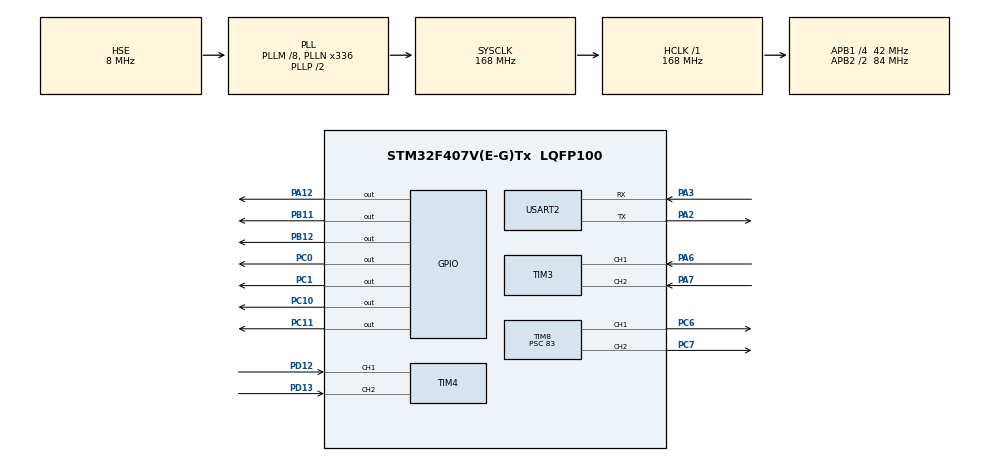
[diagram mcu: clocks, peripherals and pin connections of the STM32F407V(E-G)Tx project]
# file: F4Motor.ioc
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Dma.Request0=USART2_RX
Dma.Request1=USART2_TX
Dma.USART2_RX.0.Direction=DMA_PERIPH_TO_MEMORY
Dma.USART2_RX.0.FIFOMode=DMA_FIFOMODE_DISABLE
Dma.USART2_RX.0.Instance=DMA1_Stream5
Dma.USART2_RX.0.MemDataAlignment=DMA_MDATAALIGN_BYTE
Dma.USART2_RX.0.MemInc=DMA_MINC_ENABLE
Dma.USART2_RX.0.Mode=DMA_CIRCULAR
Dma.USART2_RX.0.PeriphDataAlignment=DMA_PDATAALIGN_BYTE
Dma.USART2_RX.0.PeriphInc=DMA_PINC_DISABLE
Dma.USART2_RX.0.Priority=DMA_PRIORITY_LOW
Dma.USART2_TX.1.Direction=DMA_MEMORY_TO_PERIPH
Dma.USART2_TX.1.FIFOMode=DMA_FIFOMODE_DISABLE
Dma.USART2_TX.1.Instance=DMA1_Stream6
Dma.USART2_TX.1.MemDataAlignment=DMA_MDATAALIGN_BYTE
Dma.USART2_TX.1.MemInc=DMA_MINC_ENABLE
Dma.USART2_TX.1.Mode=DMA_CIRCULAR
Dma.USART2_TX.1.PeriphDataAlignment=DMA_PDATAALIGN_BYTE
Dma.USART2_TX.1.PeriphInc=DMA_PINC_DISABLE
Dma.USART2_TX.1.Priority=DMA_PRIORITY_LOW
Mcu.Family=STM32F4
Mcu.Name=STM32F407V(E-G)Tx
Mcu.Package=LQFP100
NVIC.DMA1_Stream5_IRQn=true\:0\:0\:false\:false\:true\:false\:true\:true
NVIC.DMA1_Stream6_IRQn=true\:0\:0\:false\:false\:true\:false\:true\:true
NVIC.PriorityGroup=NVIC_PRIORITYGROUP_4
NVIC.TIM6_DAC_IRQn=true\:1\:0\:true\:false\:true\:true\:true\:true
NVIC.TIM7_IRQn=true\:2\:0\:true\:false\:true\:true\:true\:true
NVIC.USART2_IRQn=true\:1\:0\:true\:false\:true\:true\:true\:true
PA12.Signal=GPIO_Output
PA13.Mode=Serial_Wire
PA13.Signal=SYS_JTMS-SWDIO
PA14.Mode=Serial_Wire
PA14.Signal=SYS_JTCK-SWCLK
PA2.Mode=Asynchronous
PA2.Signal=USART2_TX
PA3.Mode=Asynchronous
PA3.Signal=USART2_RX
PA6.Signal=S_TIM3_CH1
PA7.Signal=S_TIM3_CH2
PB11.Signal=GPIO_Output
PB12.Signal=GPIO_Output
PC0.Signal=GPIO_Output
PC1.Signal=GPIO_Output
PC10.Signal=GPIO_Output
PC11.Signal=GPIO_Output
PC6.Signal=S_TIM8_CH1
PC7.Signal=S_TIM8_CH2
PD12.Signal=S_TIM4_CH1
PD13.Signal=S_TIM4_CH2
PH0-OSC_IN.Mode=HSE-External-Oscillator
PH0-OSC_IN.Signal=RCC_OSC_IN
PH1-OSC_OUT.Mode=HSE-External-Oscillator
PH1-OSC_OUT.Signal=RCC_OSC_OUT
ProjectManager.HeapSize=0x200
ProjectManager.StackSize=0x400
ProjectManager.TargetToolchain=STM32CubeIDE
RCC.48MHZClocksFreq_Value=84000000
RCC.AHBFreq_Value=168000000
RCC.APB1CLKDivider=RCC_HCLK_DIV4
RCC.APB1Freq_Value=42000000
RCC.APB1TimFreq_Value=84000000
RCC.APB2CLKDivider=RCC_HCLK_DIV2
RCC.APB2Freq_Value=84000000
RCC.APB2TimFreq_Value=168000000
RCC.CortexFreq_Value=168000000
RCC.HCLKFreq_Value=168000000
RCC.HSE_VALUE=8000000
RCC.HSI_VALUE=16000000
RCC.LSE_VALUE=32768
RCC.PLLM=8
RCC.PLLN=336
RCC.PLLSourceVirtual=RCC_PLLSOURCE_HSE
RCC.SYSCLKFreq_VALUE=168000000
RCC.SYSCLKSource=RCC_SYSCLKSOURCE_PLLCLK
RCC.VCOOutputFreq_Value=336000000
SH.S_TIM3_CH1.0=TIM3_CH1,Encoder_Interface
SH.S_TIM3_CH2.0=TIM3_CH2,Encoder_Interface
SH.S_TIM4_CH1.0=TIM4_CH1,Encoder_Interface
SH.S_TIM4_CH2.0=TIM4_CH2,Encoder_Interface
SH.S_TIM8_CH1.0=TIM8_CH1,PWM Generation1 CH1
SH.S_TIM8_CH2.0=TIM8_CH2,PWM Generation2 CH2
TIM3.EncoderMode=TIM_ENCODERMODE_TI12
TIM4.EncoderMode=TIM_ENCODERMODE_TI12
TIM6.Period=99
TIM6.Prescaler=8399
TIM7.Period=199
TIM7.Prescaler=8399
TIM8.Channel-PWM\ Generation1\ CH1=TIM_CHANNEL_1
TIM8.Channel-PWM\ Generation2\ CH2=TIM_CHANNEL_2
TIM8.Period=99
TIM8.Prescaler=83
USART2.VirtualMode=VM_ASYNC
VP_TIM6_VS_ClockSourceINT.Mode=Enable_Timer
VP_TIM7_VS_ClockSourceINT.Mode=Enable_Timer
board=custom

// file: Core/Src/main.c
/* USER CODE BEGIN Header */
/**
  ******************************************************************************
  * @file           : main.c
  * @brief          : Main program body
  ******************************************************************************
  * @attention
  *
  * Copyright (c) 2023 STMicroelectronics.
  * All rights reserved.
  *
  * This software is licensed under terms that can be found in the LICENSE file
  * in the root directory of this software component.
  * If no LICENSE file comes with this software, it is provided AS-IS.
  * Author: Le Dinh Hoang
  ******************************************************************************
  */
/* USER CODE END Header */
#include "main.h"

/* USER CODE BEGIN Includes */
#include "stdio.h"
#include "string.h"
#include "math.h"
#include "stdlib.h"
/* USER CODE END Includes */

TIM_HandleTypeDef htim3;
TIM_HandleTypeDef htim4;
TIM_HandleTypeDef htim6;
TIM_HandleTypeDef htim7;
TIM_HandleTypeDef htim8;

UART_HandleTypeDef huart2;
DMA_HandleTypeDef hdma_usart2_rx;
DMA_HandleTypeDef hdma_usart2_tx;

void SystemClock_Config(void);
static void MX_GPIO_Init(void);
static void MX_DMA_Init(void);
static void MX_TIM3_Init(void);
static void MX_TIM4_Init(void);
static void MX_TIM6_Init(void);
static void MX_USART2_UART_Init(void);
static void MX_TIM8_Init(void);
static void MX_TIM7_Init(void);

/* USER CODE BEGIN 0 */
float f1 = 0,f2 = 0;
uint32_t a,b,c,d,e,f,g,h,t =0;
uint8_t txbuffer[16];//Buffer truyen du lieu tu STM32 toi RaspberryPi. Bao gom 2 toc do cua dong co +000.00/+000.00/n
uint8_t temp_rxbuffer[17];
uint8_t y[24];
uint8_t tx[8];
uint8_t f12bytes[sizeof(float)+1];
uint8_t f22bytes[sizeof(float)];
float bytes2f=0;
double time_sample = 0.005; //Thoi gian lay mau roi rac 5ms
char motorState1 = 0, motorState2 = 0;
uint8_t rxbuffer[17]; //Buffer nhan du lieu tu RaspberryPi thong qua USART2 dung DMA.... +00.00/+00.00/y/n
/*--------Thong so ve dong co trai */ //Motor1 = dong co trai
double set1 = 0,set1_1 = 0;
int32_t setpoint1 = -50, setpoint1_1 = 0,setpoint1_2 =0; //Toc do dat cua dong co trai,setpoint = uc(k), setpoint1_1 = uc(k-1), setpoint1_2 = uc(k-2);
double cnt_encoder1, pre_cnt_encoder1,cnt; //Gia tri doc encoder va gia tri trong qua khu
double motor1Velocity,motor1Velocity1,motor1Velocity2,motor1Velocity3;//Toc do thuc te ngo ra y voi motor1Velocity = y1(k), motor1Velocity1 = y1(k-1), motor1Velocity2 = y1(k-2)...
double motor1Velocity_m,motor1Velocity1_m,motor1Velocity2_m; //Toc do ngo ra ym mo hinh chuan motor1Velocity_m = ym(k), motor1Velocity1_m = ym(k-1);
double e1_c, e1_c1, e1_c2; //Sai so giua setpoint va toc do thuc te e1_c = e1(k), e1_c1 = e1(k-1), e1 = setpoint1 - motor1Velocity;
double e1_m, e1_m1, e1_m2; //Sai so giua ngo ra thuc te va ngo ra mo hinh  chuan e1_m = e1(k), e1_m1 = e1(k-1), motor1Velocity - motor1Velocity_m
double delta1_Kp,delta1_Ki;//Bien gán da thuc trong lut MIT de roi rac
double delta1_Kp_k1, delta1_Kp_k2;
double delta1_Ki_k1,delta1_Ki_k2;
double alpha1,beta1;
double Kp1 = 0 ,Ki1 = 0;
//double Kp1_k1,Ki1_k1,Kd1_k1;
double u1_k,u1_k1,u1_k2;
double gamma1=0.00001; //He so thich nghi
double biendem = 0;
//Luat dieu khien u1_k = u(k), u1_k1 = u(k-1)

/* Thong so ve dong co phai */ //Motor2 = dong co phai
double set2 = 0,set2_1 = 0;
int32_t setpoint2 = 50 ,setpoint2_1,setpoint2_2;; //Toc do dat cua dong co phai
double cnt_encoder2, pre_cnt_encoder2; //Gia tri doc encoder va gia tri trong qua khu
double motor2Velocity,motor2Velocity1 = 0,motor2Velocity2,motor2Velocity3;//Toc do thuc te ngo ra y voi motor2Velocity = y2(k), motor2Velocity1 = y2(k-1), motor2Velocity2 = y2(k-2)...
double motor2Velocity_m,motor2Velocity1_m,motor2Velocity2_m; //Toc do ngo ra ym mo hinh chuan motor2Velocity_m = y2m(k), motor2Velocity1_m = y2m(k-1);
double e2_c, e2_c1, e2_c2; //Sai so giua setpoint va toc do thuc te e2_c = e2(k), e2_c1 = e2(k-1), e2 = setpoint2 - motor2Velocity;
double e2_m, e2_m1, e2_m2; //Sai so giua ngo ra thuc te va ngo ra mo hinh  chuan e2_m = e2(k), e2_m1 = e2(k-1), motor2Velocity - motor2Velocity_m
double delta2_Kp,delta2_Ki;//Bien gán da thuc trong lut MIT de roi rac
double delta2_Kp_k1, delta2_Kp_k2;
double delta2_Ki_k1,delta2_Ki_k2;
double alpha2,beta2;
double Kp2,Ki2;
double Kp2_k1,Ki2_k1;
double u2_k,u2_k1,u2_k2;
double gamma2 = 0.00001; //He so thich nghi

int time_parameter = 0;
double pitch = 0, roll = 0, yaw = 0, yad_radian = 0;
/* USER CODE END 0 */

int main(void)
{

  /* MCU Configuration--------------------------------------------------------*/

  /* Reset of all peripherals, Initializes the Flash interface and the Systick. */
  HAL_Init();

  /* Configure the system clock */
  SystemClock_Config();

  /* Initialize all configured peripherals */
  MX_GPIO_Init();
  MX_DMA_Init();
  MX_TIM3_Init();
  MX_TIM4_Init();
  MX_TIM6_Init();
  MX_USART2_UART_Init();
  MX_TIM8_Init();
  MX_TIM7_Init();
  /* USER CODE BEGIN 2 */
  HAL_TIM_PWM_Start(&htim8,TIM_CHANNEL_1);
  HAL_TIM_PWM_Start(&htim8,TIM_CHANNEL_2);
  HAL_TIM_Encoder_Start(&htim3, TIM_CHANNEL_1 | TIM_CHANNEL_2);
  HAL_TIM_Encoder_Start(&htim4, TIM_CHANNEL_1 | TIM_CHANNEL_2);
  HAL_TIM_Base_Start_IT(&htim6);
  HAL_TIM_Base_Start_IT(&htim7);
  HAL_UART_Receive_DMA(&huart2, rxbuffer, sizeof(rxbuffer));
// HAL_UART_Transmit_DMA(&huart2, y, sizeof(y));
  /* USER CODE END 2 */

  /* Infinite loop */
  while (1)
  {

  }
}

void SystemClock_Config(void)
{
  RCC_OscInitTypeDef RCC_OscInitStruct = {0};
  RCC_ClkInitTypeDef RCC_ClkInitStruct = {0};

  /** Configure the main internal regulator output voltage
  */
  __HAL_RCC_PWR_CLK_ENABLE();
  __HAL_PWR_VOLTAGESCALING_CONFIG(PWR_REGULATOR_VOLTAGE_SCALE1);

  /** Initializes the RCC Oscillators according to the specified parameters
  * in the RCC_OscInitTypeDef structure.
  */
  RCC_OscInitStruct.OscillatorType = RCC_OSCILLATORTYPE_HSE;
  RCC_OscInitStruct.HSEState = RCC_HSE_ON;
  RCC_OscInitStruct.PLL.PLLState = RCC_PLL_ON;
  RCC_OscInitStruct.PLL.PLLSource = RCC_PLLSOURCE_HSE;
  RCC_OscInitStruct.PLL.PLLM = 8;
  RCC_OscInitStruct.PLL.PLLN = 336;
  RCC_OscInitStruct.PLL.PLLP = RCC_PLLP_DIV2;
  RCC_OscInitStruct.PLL.PLLQ = 4;
  if (HAL_RCC_OscConfig(&RCC_OscInitStruct) != HAL_OK)
  {
    Error_Handler();
  }

  /** Initializes the CPU, AHB and APB buses clocks
  */
  RCC_ClkInitStruct.ClockType = RCC_CLOCKTYPE_HCLK|RCC_CLOCKTYPE_SYSCLK
                              |RCC_CLOCKTYPE_PCLK1|RCC_CLOCKTYPE_PCLK2;
  RCC_ClkInitStruct.SYSCLKSource = RCC_SYSCLKSOURCE_PLLCLK;
  RCC_ClkInitStruct.AHBCLKDivider = RCC_SYSCLK_DIV1;
  RCC_ClkInitStruct.APB1CLKDivider = RCC_HCLK_DIV4;
  RCC_ClkInitStruct.APB2CLKDivider = RCC_HCLK_DIV2;

  if (HAL_RCC_ClockConfig(&RCC_ClkInitStruct, FLASH_LATENCY_5) != HAL_OK)
  {
    Error_Handler();
  }
}

static void MX_TIM3_Init(void)
{

  TIM_Encoder_InitTypeDef sConfig = {0};
  TIM_MasterConfigTypeDef sMasterConfig = {0};

  htim3.Instance = TIM3;
  htim3.Init.Prescaler = 0;
  htim3.Init.CounterMode = TIM_COUNTERMODE_UP;
  htim3.Init.Period = 65535;
  htim3.Init.ClockDivision = TIM_CLOCKDIVISION_DIV1;
  htim3.Init.AutoReloadPreload = TIM_AUTORELOAD_PRELOAD_DISABLE;
  sConfig.EncoderMode = TIM_ENCODERMODE_TI12;
  sConfig.IC1Polarity = TIM_ICPOLARITY_RISING;
  sConfig.IC1Selection = TIM_ICSELECTION_DIRECTTI;
  sConfig.IC1Prescaler = TIM_ICPSC_DIV1;
  sConfig.IC1Filter = 0;
  sConfig.IC2Polarity = TIM_ICPOLARITY_RISING;
  sConfig.IC2Selection = TIM_ICSELECTION_DIRECTTI;
  sConfig.IC2Prescaler = TIM_ICPSC_DIV1;
  sConfig.IC2Filter = 0;
  if (HAL_TIM_Encoder_Init(&htim3, &sConfig) != HAL_OK)
  {
    Error_Handler();
  }
  sMasterConfig.MasterOutputTrigger = TIM_TRGO_RESET;
  sMasterConfig.MasterSlaveMode = TIM_MASTERSLAVEMODE_DISABLE;
  if (HAL_TIMEx_MasterConfigSynchronization(&htim3, &sMasterConfig) != HAL_OK)
  {
    Error_Handler();
  }

}

static void MX_TIM4_Init(void)
{

  TIM_Encoder_InitTypeDef sConfig = {0};
  TIM_MasterConfigTypeDef sMasterConfig = {0};

  htim4.Instance = TIM4;
  htim4.Init.Prescaler = 0;
  htim4.Init.CounterMode = TIM_COUNTERMODE_UP;
  htim4.Init.Period = 65535;
  htim4.Init.ClockDivision = TIM_CLOCKDIVISION_DIV1;
  htim4.Init.AutoReloadPreload = TIM_AUTORELOAD_PRELOAD_DISABLE;
  sConfig.EncoderMode = TIM_ENCODERMODE_TI12;
  sConfig.IC1Polarity = TIM_ICPOLARITY_RISING;
  sConfig.IC1Selection = TIM_ICSELECTION_DIRECTTI;
  sConfig.IC1Prescaler = TIM_ICPSC_DIV1;
  sConfig.IC1Filter = 0;
  sConfig.IC2Polarity = TIM_ICPOLARITY_RISING;
  sConfig.IC2Selection = TIM_ICSELECTION_DIRECTTI;
  sConfig.IC2Prescaler = TIM_ICPSC_DIV1;
  sConfig.IC2Filter = 0;
  if (HAL_TIM_Encoder_Init(&htim4, &sConfig) != HAL_OK)
  {
    Error_Handler();
  }
  sMasterConfig.MasterOutputTrigger = TIM_TRGO_RESET;
  sMasterConfig.MasterSlaveMode = TIM_MASTERSLAVEMODE_DISABLE;
  if (HAL_TIMEx_MasterConfigSynchronization(&htim4, &sMasterConfig) != HAL_OK)
  {
    Error_Handler();
  }

}

static void MX_TIM6_Init(void)
{

  TIM_MasterConfigTypeDef sMasterConfig = {0};

  htim6.Instance = TIM6;
  htim6.Init.Prescaler = 8399;
  htim6.Init.CounterMode = TIM_COUNTERMODE_UP;
  htim6.Init.Period = 99;
  htim6.Init.AutoReloadPreload = TIM_AUTORELOAD_PRELOAD_DISABLE;
  if (HAL_TIM_Base_Init(&htim6) != HAL_OK)
  {
    Error_Handler();
  }
  sMasterConfig.MasterOutputTrigger = TIM_TRGO_RESET;
  sMasterConfig.MasterSlaveMode = TIM_MASTERSLAVEMODE_DISABLE;
  if (HAL_TIMEx_MasterConfigSynchronization(&htim6, &sMasterConfig) != HAL_OK)
  {
    Error_Handler();
  }

}

static void MX_TIM7_Init(void)
{

  TIM_MasterConfigTypeDef sMasterConfig = {0};

  htim7.Instance = TIM7;
  htim7.Init.Prescaler = 8399;
  htim7.Init.CounterMode = TIM_COUNTERMODE_UP;
  htim7.Init.Period = 999;
  htim7.Init.AutoReloadPreload = TIM_AUTORELOAD_PRELOAD_DISABLE;
  if (HAL_TIM_Base_Init(&htim7) != HAL_OK)
  {
    Error_Handler();
  }
  sMasterConfig.MasterOutputTrigger = TIM_TRGO_RESET;
  sMasterConfig.MasterSlaveMode = TIM_MASTERSLAVEMODE_DISABLE;
  if (HAL_TIMEx_MasterConfigSynchronization(&htim7, &sMasterConfig) != HAL_OK)
  {
    Error_Handler();
  }

}

static void MX_TIM8_Init(void)
{

  TIM_MasterConfigTypeDef sMasterConfig = {0};
  TIM_OC_InitTypeDef sConfigOC = {0};
  TIM_BreakDeadTimeConfigTypeDef sBreakDeadTimeConfig = {0};

  htim8.Instance = TIM8;
  htim8.Init.Prescaler = 83;
  htim8.Init.CounterMode = TIM_COUNTERMODE_UP;
  htim8.Init.Period = 99;
  htim8.Init.ClockDivision = TIM_CLOCKDIVISION_DIV1;
  htim8.Init.RepetitionCounter = 0;
  htim8.Init.AutoReloadPreload = TIM_AUTORELOAD_PRELOAD_DISABLE;
  if (HAL_TIM_PWM_Init(&htim8) != HAL_OK)
  {
    Error_Handler();
  }
  sMasterConfig.MasterOutputTrigger = TIM_TRGO_RESET;
  sMasterConfig.MasterSlaveMode = TIM_MASTERSLAVEMODE_DISABLE;
  if (HAL_TIMEx_MasterConfigSynchronization(&htim8, &sMasterConfig) != HAL_OK)
  {
    Error_Handler();
  }
  sConfigOC.OCMode = TIM_OCMODE_PWM1;
  sConfigOC.Pulse = 0;
  sConfigOC.OCPolarity = TIM_OCPOLARITY_HIGH;
  sConfigOC.OCNPolarity = TIM_OCNPOLARITY_HIGH;
  sConfigOC.OCFastMode = TIM_OCFAST_DISABLE;
  sConfigOC.OCIdleState = TIM_OCIDLESTATE_RESET;
  sConfigOC.OCNIdleState = TIM_OCNIDLESTATE_RESET;
  if (HAL_TIM_PWM_ConfigChannel(&htim8, &sConfigOC, TIM_CHANNEL_1) != HAL_OK)
  {
    Error_Handler();
  }
  if (HAL_TIM_PWM_ConfigChannel(&htim8, &sConfigOC, TIM_CHANNEL_2) != HAL_OK)
  {
    Error_Handler();
  }
  sBreakDeadTimeConfig.OffStateRunMode = TIM_OSSR_DISABLE;
  sBreakDeadTimeConfig.OffStateIDLEMode = TIM_OSSI_DISABLE;
  sBreakDeadTimeConfig.LockLevel = TIM_LOCKLEVEL_OFF;
  sBreakDeadTimeConfig.DeadTime = 0;
  sBreakDeadTimeConfig.BreakState = TIM_BREAK_DISABLE;
  sBreakDeadTimeConfig.BreakPolarity = TIM_BREAKPOLARITY_HIGH;
  sBreakDeadTimeConfig.AutomaticOutput = TIM_AUTOMATICOUTPUT_DISABLE;
  if (HAL_TIMEx_ConfigBreakDeadTime(&htim8, &sBreakDeadTimeConfig) != HAL_OK)
  {
    Error_Handler();
  }
  HAL_TIM_MspPostInit(&htim8);

}

static void MX_USART2_UART_Init(void)
{

  huart2.Instance = USART2;
  huart2.Init.BaudRate = 115200;
  huart2.Init.WordLength = UART_WORDLENGTH_8B;
  huart2.Init.StopBits = UART_STOPBITS_1;
  huart2.Init.Parity = UART_PARITY_NONE;
  huart2.Init.Mode = UART_MODE_TX_RX;
  huart2.Init.HwFlowCtl = UART_HWCONTROL_NONE;
  huart2.Init.OverSampling = UART_OVERSAMPLING_16;
  if (HAL_UART_Init(&huart2) != HAL_OK)
  {
    Error_Handler();
  }

}

static void MX_DMA_Init(void)
{

  /* DMA controller clock enable */
  __HAL_RCC_DMA1_CLK_ENABLE();

  /* DMA interrupt init */
  /* DMA1_Stream5_IRQn interrupt configuration */
  HAL_NVIC_SetPriority(DMA1_Stream5_IRQn, 0, 0);
  HAL_NVIC_EnableIRQ(DMA1_Stream5_IRQn);
  /* DMA1_Stream6_IRQn interrupt configuration */
  HAL_NVIC_SetPriority(DMA1_Stream6_IRQn, 0, 0);
  HAL_NVIC_EnableIRQ(DMA1_Stream6_IRQn);

}

static void MX_GPIO_Init(void)
{
  GPIO_InitTypeDef GPIO_InitStruct = {0};

  /* GPIO Ports Clock Enable */
  __HAL_RCC_GPIOH_CLK_ENABLE();
  __HAL_RCC_GPIOC_CLK_ENABLE();
  __HAL_RCC_GPIOA_CLK_ENABLE();
  __HAL_RCC_GPIOB_CLK_ENABLE();
  __HAL_RCC_GPIOD_CLK_ENABLE();

  /*Configure GPIO pin Output Level */
  HAL_GPIO_WritePin(GPIOC, GPIO_PIN_0|GPIO_PIN_1|GPIO_PIN_10|GPIO_PIN_11, GPIO_PIN_RESET);

  /*Configure GPIO pin Output Level */
  HAL_GPIO_WritePin(GPIOB, GPIO_PIN_11|GPIO_PIN_12, GPIO_PIN_RESET);

  /*Configure GPIO pin Output Level */
  HAL_GPIO_WritePin(GPIOA, GPIO_PIN_12, GPIO_PIN_RESET);

  /*Configure GPIO pins : PC0 PC1 PC10 PC11 */
  GPIO_InitStruct.Pin = GPIO_PIN_0|GPIO_PIN_1|GPIO_PIN_10|GPIO_PIN_11;
  GPIO_InitStruct.Mode = GPIO_MODE_OUTPUT_PP;
  GPIO_InitStruct.Pull = GPIO_NOPULL;
  GPIO_InitStruct.Speed = GPIO_SPEED_FREQ_LOW;
  HAL_GPIO_Init(GPIOC, &GPIO_InitStruct);

  /*Configure GPIO pins : PB11 PB12 */
  GPIO_InitStruct.Pin = GPIO_PIN_11|GPIO_PIN_12;
  GPIO_InitStruct.Mode = GPIO_MODE_OUTPUT_PP;
  GPIO_InitStruct.Pull = GPIO_NOPULL;
  GPIO_InitStruct.Speed = GPIO_SPEED_FREQ_LOW;
  HAL_GPIO_Init(GPIOB, &GPIO_InitStruct);

  /*Configure GPIO pin : PA12 */
  GPIO_InitStruct.Pin = GPIO_PIN_12;
  GPIO_InitStruct.Mode = GPIO_MODE_OUTPUT_PP;
  GPIO_InitStruct.Pull = GPIO_NOPULL;
  GPIO_InitStruct.Speed = GPIO_SPEED_FREQ_LOW;
  HAL_GPIO_Init(GPIOA, &GPIO_InitStruct);

}

/* USER CODE BEGIN 4 */
void HAL_UART_TxCpltCallback(UART_HandleTypeDef *huart)
{
	if(huart->Instance == huart2.Instance)
	{
		biendem++;
	}
}
void HAL_UART_RxCpltCallback(UART_HandleTypeDef *huart)
{
	if(huart->Instance == huart2.Instance)
	{

		if(rxbuffer[14] == 'y') //+00.00/+00.00/y/n
		{
			setpoint1 = (double)(rxbuffer[1]-48)*10 + (double)(rxbuffer[2]-48)
						+ (double)(rxbuffer[4]-48)/10 + (double)(rxbuffer[5]-48)/100;
			setpoint2 = (double)(rxbuffer[8]-48)*10 + (double)(rxbuffer[9]-48)
						+ (double)(rxbuffer[11]-48)/10 + (double)(rxbuffer[12]-48)/100 ;
			if(rxbuffer[0] == '-')
			{
				 setpoint1 = -setpoint1;
			}
			if(rxbuffer[7] == '-')
			{
				setpoint2 = -setpoint2;
			}
		}
		temp_rxbuffer[14] = '0';

	}
}
void HAL_TIM_PeriodElapsedCallback(TIM_HandleTypeDef *htim)
{
	if(htim->Instance == htim6.Instance)
	{
		/* ----------Dong co trai (dong co 1)------------- */
		cnt_encoder1 = __HAL_TIM_GET_COUNTER(&htim3);
		if(abs((int)(cnt_encoder1 - pre_cnt_encoder1)) < 13200) motor1Velocity2 = (cnt_encoder1 - pre_cnt_encoder1)*60.0*100/1320;
		motor1Velocity = 0.9753*motor1Velocity1 + 0.02469*motor1Velocity3; //Bộ l�?c thông thấp
		motor1Velocity1 = motor1Velocity; //y(k-1) = y(k)
		motor1Velocity3 = motor1Velocity2; // y(k-3) = y(k-2);
		pre_cnt_encoder1 = cnt_encoder1;

		e1_c = setpoint1 - motor1Velocity; //Sai số giữa sai số tốc độ đặt và tốc độ thực tế

		motor1Velocity_m = 1.921*motor1Velocity1_m - 0.9231*motor1Velocity2_m + 0.001217*setpoint1 + 0.001185*setpoint1; // Ngõ ra của mô hình chuẩn
		e1_m = motor1Velocity - motor1Velocity1_m; //Sai số giữa tốc độ của đối tượng động cơ DC và tốc độ theo mô hình chuẩn

		delta1_Kp = 0.1225*e1_c1 - 0.1225*e1_c2 + 1.921*delta1_Kp_k1 - 0.9231*delta1_Kp_k2;
		Kp1 += -gamma1*e1_m*delta1_Kp;
		delta1_Ki = 0.0003084*e1_c1 + 0.0003043*e1_c2 + 1.921*delta1_Ki_k1 - 0.9231*delta1_Ki_k2;
		Ki1 += -gamma1*e1_m*delta1_Ki;

		alpha1 = Kp1*(e1_c-e1_c1);
		beta1 = time_sample/2*Ki1*(e1_c+e1_c1);
		u1_k = u1_k1 + alpha1 + beta1;

		motor1Velocity2_m = motor1Velocity1_m; //ym(k-2) = ym(k-1);
		motor1Velocity1_m = motor1Velocity_m; //ym(k-1) = ym(k);

		u1_k1 = u1_k;
		e1_c2 = e1_c1; //e(k-2) = e(k-1)
		e1_c1 = e1_c; //e(k-1) = e(k);

		e1_m2 = e1_m1; //em(k-2) = em(k-1);
		e1_m1 = e1_m; //em(k-1) = em(k);

		delta1_Kp_k2 = delta1_Kp_k1; // delKp(k-2) = delKp(k-1);
		delta1_Kp_k1 = delta1_Kp;

		delta1_Ki_k2 = delta1_Ki_k1;
		delta1_Ki_k1 = delta1_Ki;

	//Thêm khâu bão hòa
		if(setpoint1 == 0) u1_k = 0;
		if(u1_k >= 0)
		{
			if(u1_k > 100) u1_k = 100;
			HAL_GPIO_WritePin(GPIOB,GPIO_PIN_11,GPIO_PIN_RESET); //forward
			HAL_GPIO_WritePin(GPIOB,GPIO_PIN_12,GPIO_PIN_SET);
			__HAL_TIM_SET_COMPARE(&htim8, TIM_CHANNEL_1, u1_k);
		}
		else if(u1_k < 0)
		{
			if(u1_k < -100) u1_k = -100;
			HAL_GPIO_WritePin(GPIOB,GPIO_PIN_11,GPIO_PIN_SET); //inverse
			HAL_GPIO_WritePin(GPIOB,GPIO_PIN_12,GPIO_PIN_RESET);
			__HAL_TIM_SET_COMPARE(&htim8, TIM_CHANNEL_1, -u1_k);
		}
		else if(u1_k == 0)
		{
			__HAL_TIM_SET_COMPARE(&htim8, TIM_CHANNEL_1, u1_k);
		}
//		if(u1_k > 100) u1_k = 100;
//		else if(u1_k < -100) u1_k = -100;
//		if(u1_k > 0)
//		{
//			HAL_GPIO_WritePin(GPIOB,GPIO_PIN_11,GPIO_PIN_RESET); //forward
//			HAL_GPIO_WritePin(GPIOB,GPIO_PIN_12,GPIO_PIN_SET);
//		}
//		else if (u1_k <0 )
//		{
//			HAL_GPIO_WritePin(GPIOB,GPIO_PIN_11,GPIO_PIN_SET); //inverse
//			HAL_GPIO_WritePin(GPIOB,GPIO_PIN_12,GPIO_PIN_RESET);
//			u1_k = -u1_k;
//
//		}else u1_k = 0;

		/* ----------Dong co phai (dong co 2)------------- */
		cnt_encoder2 = __HAL_TIM_GET_COUNTER(&htim4);
		if(abs((int)(cnt_encoder2-pre_cnt_encoder2))<13200) motor2Velocity2 = (cnt_encoder2-pre_cnt_encoder2)*60.0*100/1320;
		motor2Velocity = 0.9753*motor2Velocity1 + 0.02469*motor2Velocity3; //Bộ l�?c thông thấp
		motor2Velocity1 = motor2Velocity; //y(k-1) = y(k)
		motor2Velocity3 = motor2Velocity2; // y(k-3) = y(k-2);
		pre_cnt_encoder2 = cnt_encoder2;

		e2_c = setpoint2 - motor2Velocity; //Sai số giữa sai số tốc độ đặt và tốc độ thực tế

		motor2Velocity_m = 1.921*motor2Velocity1_m - 0.9231*motor2Velocity2_m + 0.001217*setpoint2 + 0.001185*setpoint2; // Ngõ ra của mô hình chuẩn
		e2_m = motor2Velocity - motor2Velocity1_m; //Sai số giữa tốc độ của đối tượng động cơ DC và tốc độ theo mô hình chuẩn

		delta2_Kp = 0.1225*e2_c1 - 0.1225*e2_c2  + 1.921*delta2_Kp_k1 - 0.9231*delta2_Kp_k2;
		Kp2 += -gamma2*e2_m*delta2_Kp;
		delta2_Ki = 0.0003084*e2_c1 + 0.0003043*e2_c2 + 1.921*delta2_Ki_k1 - 0.9231*delta2_Ki_k2;
		Ki2 += -gamma2*e2_m*delta2_Ki;

		alpha2 = Kp2*(e2_c-e2_c1);
		beta2 = time_sample/2*Ki2*(e2_c+e2_c1);
		u2_k = u2_k1 + alpha2 + beta2;

		motor2Velocity2_m = motor2Velocity1_m; //ym(k-2) = ym(k-1);
		motor2Velocity1_m = motor2Velocity_m; //ym(k-1) = ym(k);

		e2_c2 = e2_c1; //e(k-2) = e(k-1)
		e2_c1 = e2_c; //e(k-1) = e(k);

		e2_m2 = e2_m1; //em(k-2) = em(k-1);
		e2_m1 = e2_m; //em(k-1) = em(k);

		delta2_Kp_k2 = delta2_Kp_k1; // delKp(k-2) = delKp(k-1);
		delta2_Kp_k1 = delta2_Kp;

		delta2_Ki_k2 = delta2_Ki_k1;
		delta2_Ki_k1 = delta2_Ki;

		u2_k1 = u2_k;

		//Thêm khâu bão hòa
		if(setpoint2 == 0) u2_k = 0;
		if(u2_k < 0)
		{
			if(u2_k < -100) u2_k = -100;
			HAL_GPIO_WritePin(GPIOC,GPIO_PIN_10,GPIO_PIN_RESET); //INVERSE
			HAL_GPIO_WritePin(GPIOC,GPIO_PIN_11,GPIO_PIN_SET);
			__HAL_TIM_SET_COMPARE(&htim8, TIM_CHANNEL_2, -u2_k);
		}
		else if(u2_k >=0)
		{
			if(u2_k > 100) u2_k = 100;
			HAL_GPIO_WritePin(GPIOC,GPIO_PIN_10,GPIO_PIN_SET); //FORWARD
			HAL_GPIO_WritePin(GPIOC,GPIO_PIN_11,GPIO_PIN_RESET);
			__HAL_TIM_SET_COMPARE(&htim8, TIM_CHANNEL_2, u2_k); //PC7 banh phai
		}
		else if(u2_k == 0)
		{
			__HAL_TIM_SET_COMPARE(&htim8,TIM_CHANNEL_2,u2_k);
		}

		// Truyen du lieu UART frame truyen +000.00/+000.00/n  +120.00 45.00 -50.00
		//Truyen hang tram
		int16_t left_temp,right_temp;
		int32_t setpoint1_temp, setpoint2_temp;
		if(motor1Velocity1 >= 0)
		{
			left_temp = 100*motor1Velocity1;
			y[0] = '+';
		}
		else
		{
			left_temp = -100*motor1Velocity1;
			y[0] = '-';
		}
		y[1] = left_temp/10000 + 48;
		left_temp %= 10000;
		y[2] = left_temp/1000 + 48;
		left_temp %= 1000;
		y[3] = left_temp/100 + 48;
		left_temp %= 100;
		y[4] = 0x2E;
		y[5] = left_temp/10 + 48;
		y[6] = left_temp%10 + 48;
		y[7] = ',' ;

		if(motor2Velocity1 >= 0)
		{
			right_temp = 100*motor2Velocity1;
			y[8] = '+';
		}
		else
		{
			right_temp = -100*motor2Velocity1;
			y[8] = '-';
		}
		y[9] = right_temp/10000 + 48;
		right_temp %= 10000;
		y[10] = right_temp/1000 + 48;
		right_temp %= 1000;
		y[11] = right_temp/100 + 48;
		right_temp %= 100;
		y[12] = 0x2E;
		y[13] = right_temp/10 + 48;
		y[14] = right_temp%10 + 48;
		if(setpoint1 > 0 && setpoint2 > 0)
		{
			a++;
			y[15] = '+';
			y[16] = setpoint1/10 + 48;
			y[17] = setpoint1%10 + 48;
			y[18] = ',';
			y[19] = '+';
			y[20] = setpoint2/10 + 48;
			y[21] = setpoint2%10 + 48;

		}
		else if(setpoint1 > 0 && setpoint2 < 0)
		{
			b++;
			setpoint2_temp = -setpoint2;
			y[15] = '+';
			y[16] = setpoint1/10 + 48;
			y[17] = setpoint1%10 + 48;
			y[18] = ',';
			y[19] = '-';
			y[20] = setpoint2_temp/10 + 48;
			y[21] = setpoint2_temp%10 + 48;
		}
		else if(setpoint1 < 0 && setpoint2 < 0)
		{
			c++;
			setpoint1_temp = -setpoint1;
			setpoint2_temp = -setpoint2;
			y[15] = '-';
			y[16] = setpoint1_temp/10 + 48;
			y[17] = setpoint1_temp%10 + 48;
			y[18] = ',';
			y[19] = '-';
			y[20] = setpoint2_temp/10 + 48;
			y[21] = setpoint2_temp%10 + 48;
		}
		else if(setpoint1 > 0 && setpoint2 == 0)
		{
			d++;
			y[15] = '+';
			y[16] = setpoint1/10 + 48;
			y[17] = setpoint1%10 + 48;
			y[18] = ',';
			y[19] = '+';
			y[20] = '0';
			y[21] = '0';
		}
		else if(setpoint1 == 0 && setpoint2 > 0)
		{
			e++;
			y[15] = '+';
			y[16] = '0';
			y[17] = '0';
			y[18] = ',';
			y[19] = '+';
			y[20] = setpoint2/10 + 48;
			y[21] = setpoint2%10 + 48;
		}
		else if(setpoint1 < 0 && setpoint2 ==0)
		{	f++;
			setpoint1_temp = -setpoint1;
			y[15] = '-';
			y[16] = setpoint1_temp/10 + 48;
			y[17] = setpoint1_temp%10 + 48;
			y[18] = ',';
			y[19] = '+';
			y[20] = setpoint2/10 + 48;
			y[21] = setpoint2%10 + 48;
		}
		else if(setpoint1 == 0 && setpoint2 <0)
		{
			g++;
			setpoint2_temp = -setpoint2;
			y[15] = '+';
			y[16] = '0';
			y[17] = '0';
			y[18] = ',';
			y[19] = '-';
			y[20] = setpoint2_temp/10 + 48;
			y[21] = setpoint2_temp%10 + 48;
		}
		else if(setpoint1 == 0 && setpoint2 == 0)
		{
			h++;
			y[15] = '+';
			y[16] = '0';
			y[17] = '0';
			y[18] = ',';
			y[19] = '+';
			y[20] = '0';
			y[21] = '0';
		}
		else if(setpoint1 < 0 && setpoint2 > 0)
		{
			t++;
			setpoint1_temp = -setpoint1;
			y[15] = '-';
			y[16] = setpoint1_temp/10 + 48;
			y[17] = setpoint1_temp%10 + 48;
			y[18] = ',';
			y[19] = '+';
			y[20] = setpoint2/10 + 48;
			y[21] = setpoint2%10 + 48;
		}
		y[22] = '/';
		y[23] = '\n' ;
		//HAL_UART_Transmit(&huart2,y,sizeof(y),2000);

		//for(int i = 0;i<16;i++)
		//{
			//txbuffer[i] = y[i];
		//}

	}
	if(htim->Instance == htim7.Instance)
	{
		f1 = -3.1415;
		*(float*)f12bytes=f1;
		bytes2f  = *(float*)(f12bytes);
		f12bytes[4] = '\n';
		HAL_UART_Transmit(&huart2,y,sizeof(y),2000);
		biendem++;

	}

}
/*
void IntToString18(int16_t left,int16_t right, uint8_t *y) //+100.000/+100.000\n
{
		int16_t left_temp,right_temp;

		left_temp = 1000*left;
		y[0] = (left_temp >= 0)?'+':'-';
		y[7] = left_temp % 10 + 0x30;
		left_temp = left_temp / 10;
		y[6] = left_temp % 10 + 0x30;
		left_temp = left_temp / 10;
		y[5] = left_temp % 10 + 0x30;
		left_temp = left_temp / 10;
		y[4] = 0x2E;
		y[3] = left_temp % 10 + 0x30;
		left_temp = left_temp / 10;
		y[2] = left_temp % 10 + 0x30;
		left_temp = left_temp / 10;
		y[1] = left_temp % 10 + 0x30;

		y[8] = '/';

		right_temp = 1000*right;
		y[9] = (right_temp >= 0)?'+':'-';
		y[16] = right_temp % 10 + 0x30;
		right_temp = right_temp / 10;
		y[15] = right_temp % 10 + 0x30;
		right_temp = right_temp / 10;
		y[14] = right_temp % 10 + 0x30;
		right_temp = right_temp / 10;
		y[13] = 0x2E;
		y[12] = right_temp % 10 + 0x30;
		right_temp = right_temp / 10;
		y[11] = right_temp % 10 + 0x30;
		right_temp = right_temp / 10;
		y[10] = right_temp % 10 + 0x30;
		y[17] = '\n';
}
*/
/*
uint16_t StringToInt18(uint16_t *setpoint,uint8_t *y)
{
		int temp,setpoint1,setpoint2;

		temp = y[1] - 0x30;
		setpoint1 = temp*100;
		temp = y[2] - 0x30;
		setpoint1 = setpoint1 + temp*10;
		temp = y[3] - 0x30;
		setpoint1 = setpoint1 + temp;
		//y[4] la dau cham
		temp = y[5] - 0x30;
		setpoint1 = setpoint1 + temp/10;
		temp = y[6] - 0x30;
		setpoint1 = setpoint1 + temp/100;
		temp = y[7] - 0x30;
		setpoint1 = setpoint1 + temp/1000;

		temp = y[10] - 0x30;
		setpoint2 = temp*100;
		temp = y[11] - 0x30;
		setpoint2 = setpoint2 + temp*10;
		temp = y[12] - 0x30;
		setpoint2 = setpoint2 + temp;
		//y[13] la dau cham
		temp = y[14] - 0x30;
		setpoint2 = setpoint2 + temp/10;
		temp = y[15] - 0x30;
		setpoint2 = setpoint2 + temp/100;
		temp = y[16] - 0x30;
		setpoint2 = setpoint2 + temp/1000;

		setpoint1 = (y[0] == '-')?-setpoint1:setpoint1;
		setpoint2 = (y[9] == '-')?-setpoint1:setpoint2;
		setpoint[0] = setpoint1; // left
		setpoint[1] = setpoint2; // right
		setpoint[3] = y[17] - 0x30; //Trang thai On/Off dong co
		return setpoint;
}
*/
/* USER CODE END 4 */

void Error_Handler(void)
{
  __disable_irq();
  while (1)
  {
  }
}
